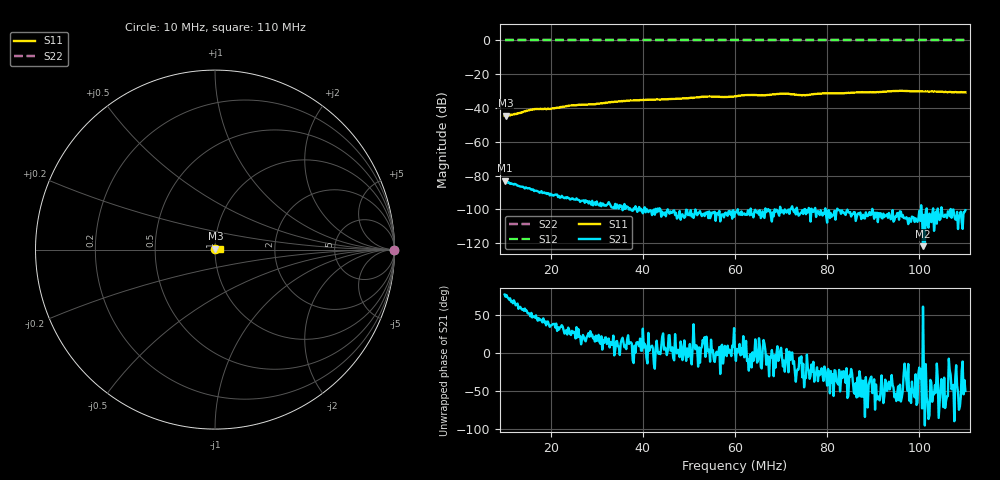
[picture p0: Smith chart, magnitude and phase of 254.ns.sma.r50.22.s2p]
! Anritsu VNA Master:  Model: MS2036C/10/77
! SN:  1601066
! /card0/usr/254.ns.sma.r50.22.s2p
! Existing Calibration Information:
! TYPE:  Current Settings,  Active Cal Settings
! TIME:  12/20/2017 01:52:39 PM,  12/20/2017 01:40:30 PM
! INTERNAL TEMP:  46.8 C,  46.0 C
! # POINTS:  501,  501
! START FREQ:  10.000 MHz,  10.000 MHz
! STOP FREQ:  110.000 MHz,  110.000 MHz
! SOURCE POWER:  High,  High
! IFBW:  100 Hz,  100 Hz
! AVG FACTOR:  1 ,  1
! REF PLANE 1:  0 mm,  0 mm
! REF PLANE 2:  0 mm,  0 mm
! CAL TYPE:  Full S11,  Full S11
! CAL METHOD:  SOLT,  SOLT
! CAL LINE TYPE:  Coax,  Coax
! DUT PORT 1:  N-Conn(F),  N-Conn(F)
! DUT PORT 2:  K-Conn(F),  K-Conn(F)
! CAL STATUS:  OK: Accuracy High,  --
# GHZ S DB R 50.0
! FREQ.GHZ  S11DB  S11A  S21DB  S21A  S12DB  S12A  S22DB  S22A
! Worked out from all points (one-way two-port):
!   501 points, 10 MHz to 110 MHz, reference 50 ohm
!   highest |S21| = -83.02 dB at 10 MHz (marker M1); lowest = -121.8 dB at 100.8 MHz (marker M2)
!   lowest |S11| = -44.6 dB at 10.2 MHz (marker M3), VSWR 1.01, Z = 50.2 + j0.54 ohm
!   |S11| at or under -10 dB: start of sweep to end of sweep
!   |S22| runs from 0.0 to 0.0 dB; largest |S21 - S12| = 1
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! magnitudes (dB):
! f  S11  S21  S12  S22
! 10 MHz  -44.5  -83.0  0.0  0.0
! 10.2 MHz  -44.6  -83.1  0.0  0.0
! 12.2 MHz  -43.5  -85.0  0.0  0.0
! 16.6 MHz  -40.6  -89.0  0.0  0.0
! 20 MHz  -40.5  -90.8  0.0  0.0
! 24.4 MHz  -38.5  -94.0  0.0  0.0
! 26.8 MHz  -38.1  -94.9  0.0  0.0
! 29.4 MHz  -37.9  -96.7  0.0  0.0
! 36.8 MHz  -35.7  -98.8  0.0  0.0
! 43.4 MHz  -35.0  -101.2  0.0  0.0
! 54 MHz  -33.3  -101.6  0.0  0.0
! 57.8 MHz  -33.4  -102.3  0.0  0.0
! 60 MHz  -33.2  -101.7  0.0  0.0
! 62.2 MHz  -32.4  -103.3  0.0  0.0
! 66.4 MHz  -32.5  -105.1  0.0  0.0
! 70.4 MHz  -31.5  -101.1  0.0  0.0
! 74.6 MHz  -32.5  -100.6  0.0  0.0
! 76.8 MHz  -31.9  -101.0  0.0  0.0
! 93.4 MHz  -30.1  -102.2  0.0  0.0
! 96 MHz  -29.9  -101.4  0.0  0.0
! 100.8 MHz  -30.2  -121.8  0.0  0.0
! 110 MHz  -30.8  -100.6  0.0  0.0
